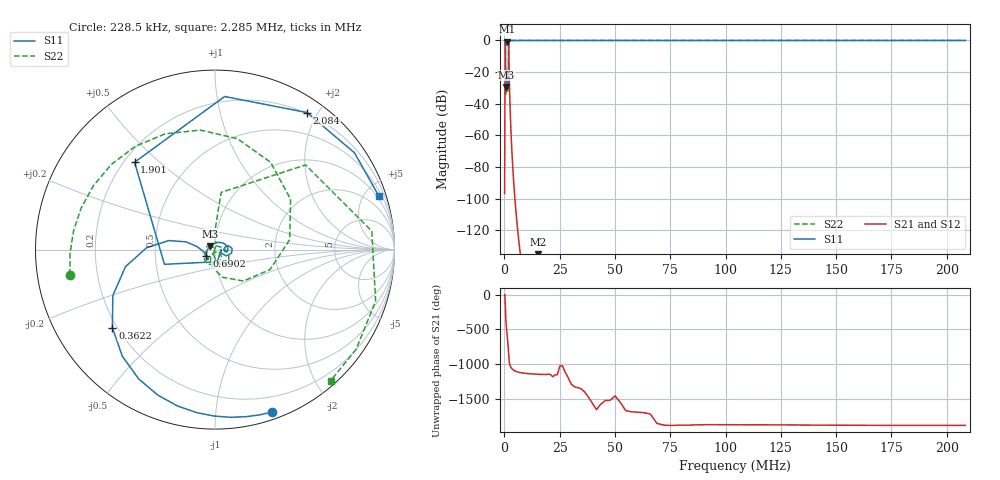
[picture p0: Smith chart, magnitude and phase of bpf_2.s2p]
! NeoRadio BPF 2: 0.5-1.7 MHz, selected in the bank
! generated_by 859cd57
# HZ S RI R 50
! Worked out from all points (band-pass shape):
!   182 points, 50 kHz to 208.4 MHz, reference 50 ohm
!   highest |S21| = -0.82 dB at 1.145 MHz (marker M1); lowest = -197.8 dB at 15.1 MHz (marker M2)
!   |S21| within 3 dB of the highest: 415.4 kHz to 1.853 MHz (1.438 MHz wide, 127 % of centre)
!   lowest |S11| = -29.4 dB at 792.4 kHz (marker M3), VSWR 1.07, Z = 47.2 + j1.75 ohm
!   |S11| at or under -10 dB: 425.7 kHz to 1.823 MHz (1.398 MHz wide, 124 % of centre)
!   |S22| runs from -34.8 to 0.0 dB; largest |S21 - S12| = 0
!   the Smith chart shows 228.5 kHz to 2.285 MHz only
!   S11 on the Smith chart (normalised r, x): 228.5 kHz: 0.06, -1.41; 362.2 kHz: 0.18, -0.33; 690.2 kHz: 0.91, -0.07; 1.901 MHz: 0.24, +0.42; 2.084 MHz: 0.19, +1.86; 2.285 MHz: 0.80, +6.15
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50000  0.9689 -0.2417  1.46e-05 -4.56e-07  1.46e-05 -4.56e-07  0.7725 -0.6134
75678.06  0.9285 -0.3623  9.78e-05 4.56e-06  9.78e-05 4.56e-06  0.516 -0.8217
208434.7  0.4358 -0.8647  0.0108 -0.0103  0.0108 -0.0103  -0.7632 -0.3559
228544.1  0.3162 -0.9058  0.0145 -0.0198  0.0145 -0.0198  -0.8081 -0.1398
362218  -0.5718 -0.4343  -0.3195 -0.1687  -0.3195 -0.1687  0.3101 0.4861
500000  -0.0669 -0.00868  0.2379 0.7845  0.2379 0.7845  -0.0255 -0.047
548239.1  -0.0403 -0.043  0.6382 0.5588  0.6382 0.5588  0.0136 -0.0121
690192.1  -0.0483 -0.0364  0.7539 -0.4634  0.7539 -0.4634  0.0116 -0.0742
792446.6  -0.0286 0.0185  0.2415 -0.8638  0.2415 -0.8638  -0.00804 -0.0764
829793.5  -0.00836 0.0334  0.017 -0.8996  0.017 -0.8996  -0.0123 -0.0788
1145434  0.0527 -0.00945  -0.85 0.3253  -0.85 0.3253  -0.0285 0.01
1377114  0.0952 0.00613  0.177 0.886  0.177 0.886  0.0763 -0.0638
1581139  0.0312 -0.0179  0.8942 0.0246  0.8942 0.0246  -0.00857 -0.0239
1733684  0.0131 -0.0675  0.3226 -0.8009  0.3226 -0.8009  -0.00312 0.0864
1900947  -0.448 0.4866  -0.5027 -0.077  -0.5027 -0.077  0.5046 0.4719
2084347  0.5116 0.7638  -0.0513 0.1016  -0.0513 0.1016  0.8949 -0.2865
2285441  0.9124 0.2996  0.00462 0.0279  0.00462 0.0279  0.6444 -0.7304
3303467  0.564 -0.8166  0.000342 7.73e-05  0.000342 7.73e-05  -0.255 -0.9623
1.315134e7  -0.8572 -0.5114  2.12e-10 -4.67e-10  2.12e-10 -4.67e-10  -0.9548 -0.2906
1.509976e7  -0.8906 -0.4507  4.84e-11 -1.19e-10  4.84e-11 -1.19e-10  -0.9653 -0.2537
5.235643e7  -0.9889 -0.1345  -6.81e-13 -1.4e-12  -6.81e-13 -1.4e-12  -0.9953 -0.0736
2.084347e8  -0.9974 -0.0341  9.24e-18 -3.45e-16  9.24e-18 -3.45e-16  -0.9978 -0.0185
